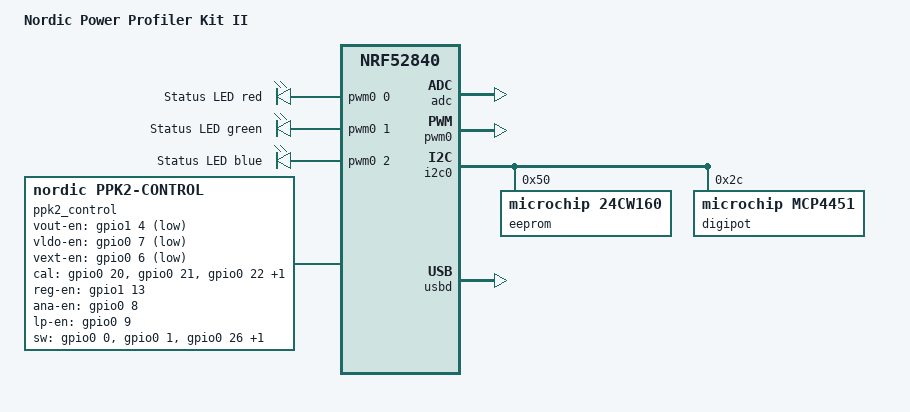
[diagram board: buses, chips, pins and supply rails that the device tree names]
/*
 * Nordic Power Profiler Kit II (PCA63100 rev 1.0.1).
 *
 * Every connection below is taken from the Altium netlist export in ref/
 * (netlist.NET), which lists each net as explicit component pads.
 *
 * SPDX-License-Identifier: Apache-2.0
 */

/dts-v1/;
#include <nordic/nrf52840_qiaa.dtsi>
#include <nordic/nrf52840_partition.dtsi>
#include "ppk2_nrf52840-pinctrl.dtsi"

/ {
	model = "Nordic Power Profiler Kit II";
	compatible = "nordic,ppk2";

	chosen {
		zephyr,sram = &sram0;
		zephyr,flash = &flash0;
	};

	pwmleds: pwmleds {
		compatible = "pwm-leds";

		/* LD3 and LD4 are common-anode to P3V3 and sit in parallel on
		 * the same three nets, so each channel drives both LEDs.
		 *
		 * Normal polarity despite the common anode: the pin does not
		 * reach the LED directly but gates an N-channel MOSFET (Q1/Q15,
		 * DMN2050LFDB) whose source is grounded and which sinks the
		 * cathode side, so a high level turns the LED on. R99-R101 pull
		 * the gates down, keeping the LEDs dark while the pins float
		 * during reset.
		 */
		led_red: pwm_led_0 {
			pwms = <&pwm0 0 PWM_MSEC(4) PWM_POLARITY_NORMAL>;
			label = "Status LED red";
		};

		led_green: pwm_led_1 {
			pwms = <&pwm0 1 PWM_MSEC(4) PWM_POLARITY_NORMAL>;
			label = "Status LED green";
		};

		led_blue: pwm_led_2 {
			pwms = <&pwm0 2 PWM_MSEC(4) PWM_POLARITY_NORMAL>;
			label = "Status LED blue";
		};
	};

	ppk2_control: ppk2-control {
		compatible = "nordic,ppk2-control";

		/* The three power switches (Q2, Q14, Q16) are N-channel high-side
		 * pairs whose gates R37/R104/R105 pull up to the +8 V rail: they
		 * conduct when left alone. The MCU pin drives Q1/Q17, which pull
		 * that gate to ground and open the switch. So the pin is active
		 * LOW for "connected", and the 1 MOhm pull-ups to 3V3 (R39, R106,
		 * R107) keep everything disconnected through reset. Confirmed on
		 * hardware: with this pin driven high, VDUT+ read 26 mV while the
		 * LDO behind it sat at 2.8 V.
		 */
		vout-en-gpios = <&gpio1 4 GPIO_ACTIVE_LOW>;
		vldo-en-gpios = <&gpio0 7 GPIO_ACTIVE_LOW>;
		vext-en-gpios = <&gpio0 6 GPIO_ACTIVE_LOW>;

		/* The calibration loads are a single N-channel stage (Q4, Q11)
		 * straight across the terminals, pulled down by 1 MOhm: active
		 * high, off at reset.
		 */
		cal-gpios = <&gpio0 20 GPIO_ACTIVE_HIGH>,	/* 100 kOhm, R40 */
			    <&gpio0 21 GPIO_ACTIVE_HIGH>,	/*  10 kOhm, R58 */
			    <&gpio0 22 GPIO_ACTIVE_HIGH>,	/*   1 kOhm, R33 */
			    <&gpio0 23 GPIO_ACTIVE_HIGH>;	/* 100  Ohm, R38 */

		/* Regulator and analog-supply enables go straight to the ICs. */
		reg-en-gpios = <&gpio1 13 GPIO_ACTIVE_HIGH>;
		ana-en-gpios = <&gpio0 8 GPIO_ACTIVE_HIGH>;
		lp-en-gpios = <&gpio0 9 GPIO_ACTIVE_HIGH>;

		/* SW1..SW4 are pulled up by R43/R47/R51/R55 and pulled low by
		 * Q6/Q8 while a shunt is in circuit, so a high level means that
		 * shunt is bypassed. The MCU can only observe them.
		 */
		sw-gpios = <&gpio0 0 GPIO_ACTIVE_HIGH>,
			   <&gpio0 1 GPIO_ACTIVE_HIGH>,
			   <&gpio0 26 GPIO_ACTIVE_HIGH>,
			   <&gpio0 27 GPIO_ACTIVE_HIGH>;

		lp-data-gpios = <&gpio0 10 GPIO_ACTIVE_HIGH>,
				<&gpio0 11 GPIO_ACTIVE_HIGH>,
				<&gpio0 12 GPIO_ACTIVE_HIGH>,
				<&gpio0 13 GPIO_ACTIVE_HIGH>,
				<&gpio0 14 GPIO_ACTIVE_HIGH>,
				<&gpio0 15 GPIO_ACTIVE_HIGH>,
				<&gpio0 16 GPIO_ACTIVE_HIGH>,
				<&gpio0 17 GPIO_ACTIVE_HIGH>;

		ext-usb-gpios = <&gpio1 9 GPIO_ACTIVE_HIGH>;
	};

	aliases {
		led0 = &led_red;
		led1 = &led_green;
		led2 = &led_blue;
		eeprom-0 = &eeprom;
		watchdog0 = &wdt0;
	};
};

&uicr {
	/* P0.09 and P0.10 carry LP_EN and LP_D0 of the logic-port header, so
	 * the NFCT pins have to come up as plain GPIOs.
	 */
	nfct-pins-as-gpios;
	gpio-as-nreset;
};

&gpiote {
	status = "okay";
};

&gpio0 {
	status = "okay";
	/* P0.18 is nRESET and P0.19 sits on the same RESET net, which is how
	 * firmware reboots the kit into the bootloader. Neither is free.
	 */
	gpio-reserved-ranges = <18 2>;
	gpio-line-names =
		"SW1_ONOFF", "SW2_ONOFF", "VREF_IA/AIN0", "VLDO/AIN1",
		"VBB/AIN2", "VIN/AIN3", "VEXT_EN", "VLDO_EN",
		"ANA_EN", "LP_EN", "LP_D0", "LP_D1",
		"LP_D2", "LP_D3", "LP_D4", "LP_D5",
		"LP_D6", "LP_D7", "RESET", "RESET_TRIGGER",
		"CAL100K", "CAL10K", "CAL1K", "CAL100",
		"SDA", "SCL", "SW3_ONOFF", "SW4_ONOFF",
		"VDUT/AIN4", "AGND/AIN5", "NTC/AIN6", "VSE_IA/AIN7";
};

&gpio1 {
	status = "okay";
	gpio-line-names =
		"SWO", "", "", "",
		"VOUT_EN", "LEDR", "LEDG", "LEDB",
		"", "EXT_USB", "", "",
		"", "REG_EN", "", "";
};

/* The eight measurement inputs all land on SAADC: AIN0 VREF_IA, AIN1 VLDO,
 * AIN2 VBB, AIN3 VIN, AIN4 VDUT, AIN5 AGND, AIN6 NTC, AIN7 VSE_IA. The
 * application drives the SAADC directly for the 100 kHz stream, so no Zephyr
 * ADC driver instance is bound to this node.
 */
&adc {
	status = "okay";
};

&pwm0 {
	status = "okay";
	pinctrl-0 = <&pwm0_default>;
	pinctrl-1 = <&pwm0_sleep>;
	pinctrl-names = "default", "sleep";
};

&i2c0 {
	compatible = "nordic,nrf-twim";
	status = "okay";
	pinctrl-0 = <&i2c0_default>;
	pinctrl-1 = <&i2c0_sleep>;
	pinctrl-names = "default", "sleep";

	/* U7, a 24CW160: 16 kbit, and where the kit keeps its calibration
	 * data. Its write-protect pin is strapped low through R83.
	 */
	eeprom: eeprom@50 {
		compatible = "microchip,24cw160", "atmel,at24";
		reg = <0x50>;
		size = <2048>;
		pagesize = <32>;
		address-width = <16>;
		timeout = <5>;
	};

	/* U10, MCP4451 100 kOhm. Wiper 0 sets the buck-boost feedback,
	 * wiper 1 the LDO feedback, wiper 3 the instrumentation-amplifier
	 * offset; wiper 2 only reaches a test point.
	 */
	digipot: mcp4451@2c {
		compatible = "microchip,mcp4451";
		reg = <0x2c>;
	};
};

zephyr_udc0: &usbd {
	compatible = "nordic,nrf-usbd";
	status = "okay";
};

/* Routes console, shell and logging onto a USB CDC ACM instance. Must come
 * after the zephyr_udc0 label above, which it attaches the CDC ACM node to.
 * The application registers this instance as the second serial port; the
 * first carries the PPK2 protocol.
 */
#include <../boards/common/usb/cdc_acm_serial.dtsi>
